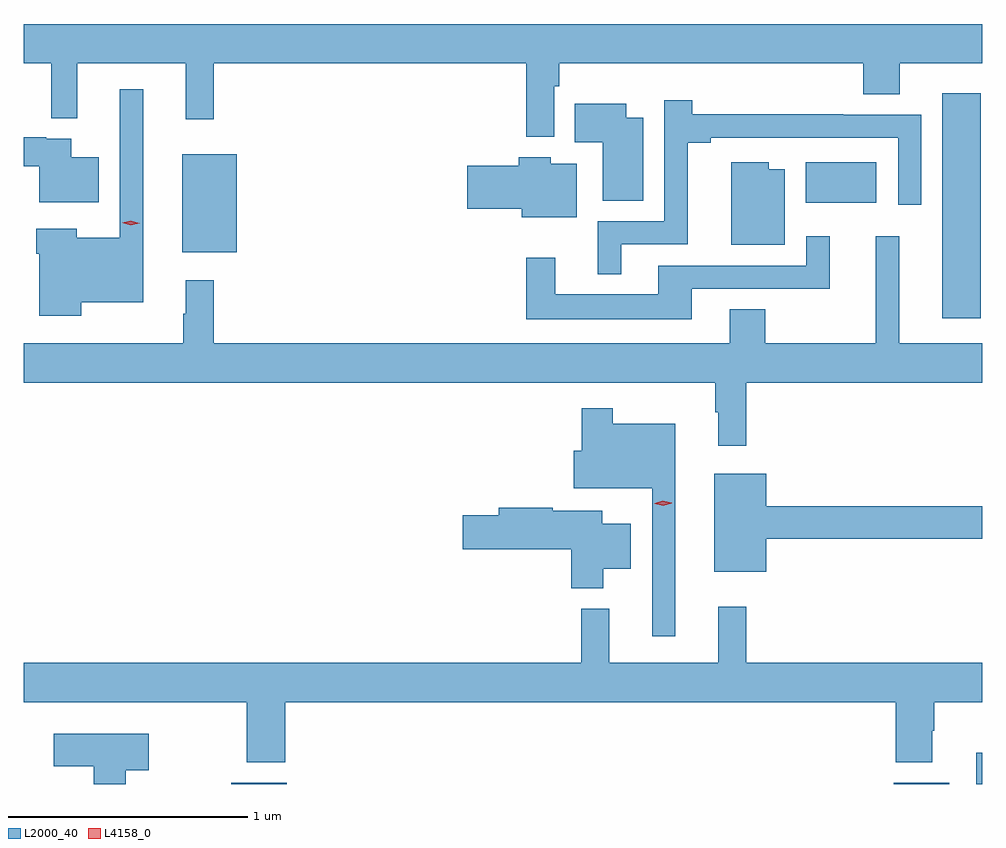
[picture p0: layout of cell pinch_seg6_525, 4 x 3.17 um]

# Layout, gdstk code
import gdstk
lib = gdstk.Library(unit=1e-6, precision=1e-09)
def R(c, l, rs):  # rectangles x0, y0, x1, y1
    for r in rs: c.add(gdstk.rectangle(r[:2], r[2:], *l))
def P(c, l, *ps):  # polygons
    for p in ps: c.add(gdstk.Polygon(p, *l))
L2000_40 = (2000, 40)
L4158_0 = (4158, 0)

pinch_seg6_525 = lib.new_cell('pinch_seg6_525')
R(pinch_seg6_525, L2000_40, [(780.863,944.33,781.096,944.335), (783.626,944.33,783.859,944.335), (783.971,944.33,783.997,944.461), (783.83,946.272,783.989,947.212), (780.659,946.547,780.886,946.957), (783.26,946.754,783.553,946.924)])
P(pinch_seg6_525, L2000_40, [(782.211,947.24),(782.231,947.24),(782.231,947.336),(783.5,947.336),(783.5,947.206),(783.652,947.206),(783.652,947.336),(783.997,947.336),(783.997,947.5),(779.997,947.5),(779.997,947.336),(780.112,947.336),(780.112,947.107),(780.221,947.107),(780.221,947.336),(780.674,947.336),(780.674,947.103),(780.791,947.103),(780.791,947.336),(782.095,947.336),(782.095,947.03),(782.211,947.03)],
  [(780.237,946.34),(780.496,946.34),(780.496,947.227),(780.399,947.227),(780.399,946.609),(780.22,946.609),(780.22,946.645),(780.05,946.645),(780.05,946.541),(780.062,946.541),(780.062,946.283),(780.237,946.283)],
  [(782.491,946.581),(782.768,946.581),(782.768,947.005),(782.863,947.005),(782.863,947.025),(783.645,947.025),(783.645,946.746),(783.741,946.746),(783.741,947.121),(783.416,947.121),(783.416,947.123),(782.786,947.123),(782.786,947.182),(782.67,947.182),(782.67,946.677),(782.393,946.677),(782.393,946.457),(782.491,946.457)],
  [(782.581,947.11),(782.512,947.11),(782.512,947.167),(782.296,947.167),(782.296,947.006),(782.414,947.006),(782.414,946.762),(782.581,946.762)],
  [(780.31,946.945),(780.196,946.945),(780.196,947.022),(780.092,947.022),(780.092,947.028),(779.997,947.028),(779.997,946.906),(780.062,946.906),(780.062,946.757),(780.31,946.757)],
  [(782.305,946.918),(782.196,946.918),(782.196,946.945),(782.063,946.945),(782.063,946.908),(781.848,946.908),(781.848,946.73),(782.075,946.73),(782.075,946.694),(782.305,946.694)],
  [(783.172,946.894),(783.106,946.894),(783.106,946.924),(782.948,946.924),(782.948,946.58),(783.172,946.58)],
  [(782.785,946.395),(783.359,946.395),(783.359,946.615),(783.261,946.615),(783.261,946.491),(782.645,946.491),(782.645,946.372),(782.215,946.372),(782.215,946.525),(782.094,946.525),(782.094,946.268),(782.785,946.268)],
  [(783.011,946.004),(783.997,946.004),(783.997,946.168),(783.65,946.168),(783.65,946.615),(783.551,946.615),(783.551,946.168),(783.09,946.168),(783.09,946.31),(782.942,946.31),(782.942,946.168),(780.791,946.168),(780.791,946.432),(780.674,946.432),(780.674,946.292),(780.663,946.292),(780.663,946.168),(779.997,946.168),(779.997,946.004),(782.883,946.004),(782.883,945.881),(782.894,945.881),(782.894,945.741),(783.011,945.741)],
  [(782.716,945.832),(782.455,945.832),(782.455,945.898),(782.326,945.898),(782.326,945.721),(782.292,945.721),(782.292,945.563),(782.619,945.563),(782.619,944.946),(782.716,944.946)],
  [(783.094,945.352),(783.997,945.352),(783.997,945.488),(783.094,945.488),(783.094,945.625),(782.879,945.625),(782.879,945.215),(783.094,945.215)],
  [(782.416,945.227),(782.53,945.227),(782.53,945.415),(782.41,945.415),(782.41,945.469),(782.204,945.469),(782.204,945.482),(781.979,945.482),(781.979,945.452),(781.83,945.452),(781.83,945.31),(782.282,945.31),(782.282,945.146),(782.416,945.146)],
  [(781.088,944.672),(783.635,944.672),(783.635,944.42),(783.787,944.42),(783.787,944.552),(783.795,944.552),(783.795,944.672),(783.997,944.672),(783.997,944.836),(783.011,944.836),(783.011,945.07),(782.894,945.07),(782.894,944.836),(782.441,944.836),(782.441,945.061),(782.323,945.061),(782.323,944.836),(779.997,944.836),(779.997,944.672),(780.928,944.672),(780.928,944.42),(781.088,944.42)],
  [(780.424,944.387),(780.52,944.387),(780.52,944.539),(780.123,944.539),(780.123,944.405),(780.29,944.405),(780.29,944.33),(780.424,944.33)])
P(pinch_seg6_525, L4158_0, [(782.665,945.491),(782.629,945.499),(782.629,945.499),(782.629,945.5),(782.664,945.511),(782.7,945.503),(782.7,945.502),(782.7,945.502)],
  [(780.444,946.66),(780.409,946.671),(780.409,946.672),(780.409,946.672),(780.445,946.68),(780.48,946.669),(780.481,946.668),(780.48,946.668)])

lib.write_gds('pinch_seg6_525.gds')
